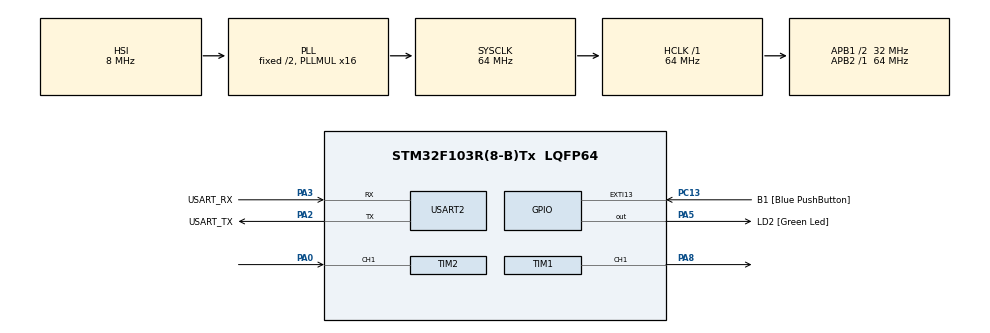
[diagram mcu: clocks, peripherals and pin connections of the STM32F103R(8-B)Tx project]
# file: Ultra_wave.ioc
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Mcu.Family=STM32F1
Mcu.Name=STM32F103R(8-B)Tx
Mcu.Package=LQFP64
NVIC.EXTI15_10_IRQn=true\:0\:0\:false\:false\:true\:true\:true\:true
NVIC.PriorityGroup=NVIC_PRIORITYGROUP_4
NVIC.TIM2_IRQn=true\:0\:0\:false\:false\:true\:true\:true\:true
PA0-WKUP.Signal=S_TIM2_CH1_ETR
PA13.GPIO_Label=TMS
PA13.Mode=Serial_Wire
PA13.Signal=SYS_JTMS-SWDIO
PA14.GPIO_Label=TCK
PA14.Mode=Serial_Wire
PA14.Signal=SYS_JTCK-SWCLK
PA2.GPIO_Label=USART_TX
PA2.GPIO_Mode=GPIO_MODE_AF_PP
PA2.GPIO_PuPd=GPIO_NOPULL
PA2.GPIO_Speed=GPIO_SPEED_FREQ_LOW
PA2.Mode=Asynchronous
PA2.Signal=USART2_TX
PA3.GPIO_Label=USART_RX
PA3.GPIO_Mode=GPIO_MODE_AF_PP
PA3.GPIO_PuPd=GPIO_NOPULL
PA3.GPIO_Speed=GPIO_SPEED_FREQ_LOW
PA3.Mode=Asynchronous
PA3.Signal=USART2_RX
PA5.GPIO_Label=LD2 [Green Led]
PA5.GPIO_ModeDefaultOutputPP=GPIO_MODE_OUTPUT_PP
PA5.GPIO_PuPd=GPIO_NOPULL
PA5.GPIO_Speed=GPIO_SPEED_FREQ_LOW
PA5.Signal=GPIO_Output
PA8.Signal=S_TIM1_CH1
PB3.GPIO_Label=SWO
PB3.Signal=SYS_JTDO-TRACESWO
PC13-TAMPER-RTC.GPIO_Label=B1 [Blue PushButton]
PC13-TAMPER-RTC.GPIO_PuPd=GPIO_NOPULL
PC13-TAMPER-RTC.Signal=GPXTI13
PC14-OSC32_IN.Mode=LSE-External-Oscillator
PC14-OSC32_IN.Signal=RCC_OSC32_IN
PC15-OSC32_OUT.Mode=LSE-External-Oscillator
PC15-OSC32_OUT.Signal=RCC_OSC32_OUT
PD0-OSC_IN.Mode=HSE-External-Clock-Source
PD0-OSC_IN.Signal=RCC_OSC_IN
PD1-OSC_OUT.Mode=HSE-External-Clock-Source
PD1-OSC_OUT.Signal=RCC_OSC_OUT
ProjectManager.HeapSize=0x200
ProjectManager.StackSize=0x400
ProjectManager.TargetToolchain=STM32CubeIDE
RCC.AHBFreq_Value=64000000
RCC.APB1CLKDivider=RCC_HCLK_DIV2
RCC.APB1Freq_Value=32000000
RCC.APB1TimFreq_Value=64000000
RCC.APB2Freq_Value=64000000
RCC.APB2TimFreq_Value=64000000
RCC.HCLKFreq_Value=64000000
RCC.PLLMUL=RCC_PLL_MUL16
RCC.RTCClockSelection=RCC_RTCCLKSOURCE_LSE
RCC.SYSCLKFreq_VALUE=64000000
RCC.SYSCLKSource=RCC_SYSCLKSOURCE_PLLCLK
RCC.USBFreq_Value=64000000
SH.S_TIM1_CH1.0=TIM1_CH1,PWM Generation1 CH1
SH.S_TIM2_CH1_ETR.0=TIM2_CH1,Input_Capture1_from_TI1
TIM1.Channel-PWM\ Generation1\ CH1=TIM_CHANNEL_1
TIM1.Period=1000-1
TIM1.Prescaler=64-1
TIM1.Pulse-PWM\ Generation1\ CH1=500-1
TIM2.Channel-Input_Capture1_from_TI1=TIM_CHANNEL_1
TIM2.Period=30000
TIM2.Prescaler=64-1
USART2.VirtualMode=VM_ASYNC
VP_TIM1_VS_ClockSourceINT.Mode=Internal
VP_TIM2_VS_ClockSourceINT.Mode=Internal
board=NUCLEO-F103RB

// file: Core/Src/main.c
/* USER CODE BEGIN Header */
/**
  ******************************************************************************
  * @file           : main.c
  * @brief          : Main program body
  ******************************************************************************
  * @attention
  *
  * Copyright (c) 2022 STMicroelectronics.
  * All rights reserved.
  *
  * This software is licensed under terms that can be found in the LICENSE file
  * in the root directory of this software component.
  * If no LICENSE file comes with this software, it is provided AS-IS.
  *
  ******************************************************************************
  */
/* USER CODE END Header */
#include "main.h"

/* USER CODE BEGIN Includes */
#include "stdio.h"

#define clk 64000000
#define psr 64
/* USER CODE END Includes */

 TIM_HandleTypeDef htim1;
TIM_HandleTypeDef htim2;

UART_HandleTypeDef huart2;

/* USER CODE BEGIN PV */
uint32_t IC1, IC2;
int Capureflag = 0;
int freq;
int time_us;

/* USER CODE END PV */

void SystemClock_Config(void);
static void MX_GPIO_Init(void);
static void MX_USART2_UART_Init(void);
static void MX_TIM1_Init(void);
static void MX_TIM2_Init(void);
/* USER CODE BEGIN PFP */
#ifdef __GNUC__
/* With GCC, small printf (option LD Linker->Libraries->Small printf
   set to 'Yes') calls __io_putchar() */
#define PUTCHAR_PROTOTYPE int __io_putchar(int ch)
#else
#define PUTCHAR_PROTOTYPE int fputc(int ch, FILE *f)
#endif /* __GNUC__ */

PUTCHAR_PROTOTYPE
{
  /* Place your implementation of fputc here */
  /* e.g. write a character to the USART1 and Loop until the end of transmission */
  HAL_UART_Transmit(&huart2, (uint8_t *)&ch, 1, 0xFFFF);

  return ch;
}
/* USER CODE END PFP */

/* USER CODE BEGIN 0 */
void HAL_TIM_IC_CaptureCallback(TIM_HandleTypeDef *htim) {
	if(htim->Channel == HAL_TIM_ACTIVE_CHANNEL_1) {
		if(Capureflag == 0) {
//			IC1 = HAL_TIM_ReadCapturedValue(&htim2, TIM_CHANNEL_1);
			IC1 = TIM2->CCR1;

			__HAL_TIM_SET_CAPTUREPOLARITY(&htim2, TIM_CHANNEL_1, TIM_INPUTCHANNELPOLARITY_FALLING);
//			TIM2->CCER |= 0x02;

			Capureflag = 1;
		}
		else if(Capureflag == 1) {
//			IC2 = HAL_TIM_ReadCapturedValue(&htim2, TIM_CHANNEL_1);
			IC2 = TIM2->CCR1;

			__HAL_TIM_SET_COUNTER(&htim2, 0);

			__HAL_TIM_SET_CAPTUREPOLARITY(&htim2, TIM_CHANNEL_1, TIM_INPUTCHANNELPOLARITY_RISING);
//			TIM2->CCER &= ~(1 << 1);

//			freq = 1 / ((IC2 - IC1) * (psr / clk));
			time_us = (IC2 - IC1);

			Capureflag = 0;
		}
	}
}
/* USER CODE END 0 */

int main(void)
{

  /* MCU Configuration--------------------------------------------------------*/

  /* Reset of all peripherals, Initializes the Flash interface and the Systick. */
  HAL_Init();

  /* Configure the system clock */
  SystemClock_Config();

  /* Initialize all configured peripherals */
  MX_GPIO_Init();
  MX_USART2_UART_Init();
  MX_TIM1_Init();
  MX_TIM2_Init();
  /* USER CODE BEGIN 2 */
  HAL_TIM_PWM_Start_IT(&htim1, TIM_CHANNEL_1);
  HAL_TIM_IC_Start_IT(&htim2, TIM_CHANNEL_1);
  /* USER CODE END 2 */

  /* Infinite loop */
  /* USER CODE BEGIN WHILE */
  while (1)
  {
	  printf("-----------------------\n\r");
	  printf("IC2 = %u, IC1 = %u\n\r", IC2, IC1);
//	  printf("freq = %u Hz\n\r", freq);
	  printf("time = %u us\n\r", time_us);
	  HAL_Delay(1000);
    /* USER CODE END WHILE */

  }
}

void SystemClock_Config(void)
{
  RCC_OscInitTypeDef RCC_OscInitStruct = {0};
  RCC_ClkInitTypeDef RCC_ClkInitStruct = {0};

  /** Initializes the RCC Oscillators according to the specified parameters
  * in the RCC_OscInitTypeDef structure.
  */
  RCC_OscInitStruct.OscillatorType = RCC_OSCILLATORTYPE_HSI;
  RCC_OscInitStruct.HSIState = RCC_HSI_ON;
  RCC_OscInitStruct.HSICalibrationValue = RCC_HSICALIBRATION_DEFAULT;
  RCC_OscInitStruct.PLL.PLLState = RCC_PLL_ON;
  RCC_OscInitStruct.PLL.PLLSource = RCC_PLLSOURCE_HSI_DIV2;
  RCC_OscInitStruct.PLL.PLLMUL = RCC_PLL_MUL16;
  if (HAL_RCC_OscConfig(&RCC_OscInitStruct) != HAL_OK)
  {
    Error_Handler();
  }

  /** Initializes the CPU, AHB and APB buses clocks
  */
  RCC_ClkInitStruct.ClockType = RCC_CLOCKTYPE_HCLK|RCC_CLOCKTYPE_SYSCLK
                              |RCC_CLOCKTYPE_PCLK1|RCC_CLOCKTYPE_PCLK2;
  RCC_ClkInitStruct.SYSCLKSource = RCC_SYSCLKSOURCE_PLLCLK;
  RCC_ClkInitStruct.AHBCLKDivider = RCC_SYSCLK_DIV1;
  RCC_ClkInitStruct.APB1CLKDivider = RCC_HCLK_DIV2;
  RCC_ClkInitStruct.APB2CLKDivider = RCC_HCLK_DIV1;

  if (HAL_RCC_ClockConfig(&RCC_ClkInitStruct, FLASH_LATENCY_2) != HAL_OK)
  {
    Error_Handler();
  }
}

static void MX_TIM1_Init(void)
{

  TIM_ClockConfigTypeDef sClockSourceConfig = {0};
  TIM_MasterConfigTypeDef sMasterConfig = {0};
  TIM_OC_InitTypeDef sConfigOC = {0};
  TIM_BreakDeadTimeConfigTypeDef sBreakDeadTimeConfig = {0};

  htim1.Instance = TIM1;
  htim1.Init.Prescaler = 64-1;
  htim1.Init.CounterMode = TIM_COUNTERMODE_UP;
  htim1.Init.Period = 1000-1;
  htim1.Init.ClockDivision = TIM_CLOCKDIVISION_DIV1;
  htim1.Init.RepetitionCounter = 0;
  htim1.Init.AutoReloadPreload = TIM_AUTORELOAD_PRELOAD_DISABLE;
  if (HAL_TIM_Base_Init(&htim1) != HAL_OK)
  {
    Error_Handler();
  }
  sClockSourceConfig.ClockSource = TIM_CLOCKSOURCE_INTERNAL;
  if (HAL_TIM_ConfigClockSource(&htim1, &sClockSourceConfig) != HAL_OK)
  {
    Error_Handler();
  }
  if (HAL_TIM_PWM_Init(&htim1) != HAL_OK)
  {
    Error_Handler();
  }
  sMasterConfig.MasterOutputTrigger = TIM_TRGO_RESET;
  sMasterConfig.MasterSlaveMode = TIM_MASTERSLAVEMODE_DISABLE;
  if (HAL_TIMEx_MasterConfigSynchronization(&htim1, &sMasterConfig) != HAL_OK)
  {
    Error_Handler();
  }
  sConfigOC.OCMode = TIM_OCMODE_PWM1;
  sConfigOC.Pulse = 500-1;
  sConfigOC.OCPolarity = TIM_OCPOLARITY_HIGH;
  sConfigOC.OCNPolarity = TIM_OCNPOLARITY_HIGH;
  sConfigOC.OCFastMode = TIM_OCFAST_DISABLE;
  sConfigOC.OCIdleState = TIM_OCIDLESTATE_RESET;
  sConfigOC.OCNIdleState = TIM_OCNIDLESTATE_RESET;
  if (HAL_TIM_PWM_ConfigChannel(&htim1, &sConfigOC, TIM_CHANNEL_1) != HAL_OK)
  {
    Error_Handler();
  }
  sBreakDeadTimeConfig.OffStateRunMode = TIM_OSSR_DISABLE;
  sBreakDeadTimeConfig.OffStateIDLEMode = TIM_OSSI_DISABLE;
  sBreakDeadTimeConfig.LockLevel = TIM_LOCKLEVEL_OFF;
  sBreakDeadTimeConfig.DeadTime = 0;
  sBreakDeadTimeConfig.BreakState = TIM_BREAK_DISABLE;
  sBreakDeadTimeConfig.BreakPolarity = TIM_BREAKPOLARITY_HIGH;
  sBreakDeadTimeConfig.AutomaticOutput = TIM_AUTOMATICOUTPUT_DISABLE;
  if (HAL_TIMEx_ConfigBreakDeadTime(&htim1, &sBreakDeadTimeConfig) != HAL_OK)
  {
    Error_Handler();
  }
  HAL_TIM_MspPostInit(&htim1);

}

static void MX_TIM2_Init(void)
{

  TIM_ClockConfigTypeDef sClockSourceConfig = {0};
  TIM_MasterConfigTypeDef sMasterConfig = {0};
  TIM_IC_InitTypeDef sConfigIC = {0};

  htim2.Instance = TIM2;
  htim2.Init.Prescaler = 64-1;
  htim2.Init.CounterMode = TIM_COUNTERMODE_UP;
  htim2.Init.Period = 30000;
  htim2.Init.ClockDivision = TIM_CLOCKDIVISION_DIV1;
  htim2.Init.AutoReloadPreload = TIM_AUTORELOAD_PRELOAD_DISABLE;
  if (HAL_TIM_Base_Init(&htim2) != HAL_OK)
  {
    Error_Handler();
  }
  sClockSourceConfig.ClockSource = TIM_CLOCKSOURCE_INTERNAL;
  if (HAL_TIM_ConfigClockSource(&htim2, &sClockSourceConfig) != HAL_OK)
  {
    Error_Handler();
  }
  if (HAL_TIM_IC_Init(&htim2) != HAL_OK)
  {
    Error_Handler();
  }
  sMasterConfig.MasterOutputTrigger = TIM_TRGO_RESET;
  sMasterConfig.MasterSlaveMode = TIM_MASTERSLAVEMODE_DISABLE;
  if (HAL_TIMEx_MasterConfigSynchronization(&htim2, &sMasterConfig) != HAL_OK)
  {
    Error_Handler();
  }
  sConfigIC.ICPolarity = TIM_INPUTCHANNELPOLARITY_RISING;
  sConfigIC.ICSelection = TIM_ICSELECTION_DIRECTTI;
  sConfigIC.ICPrescaler = TIM_ICPSC_DIV1;
  sConfigIC.ICFilter = 0;
  if (HAL_TIM_IC_ConfigChannel(&htim2, &sConfigIC, TIM_CHANNEL_1) != HAL_OK)
  {
    Error_Handler();
  }

}

static void MX_USART2_UART_Init(void)
{

  huart2.Instance = USART2;
  huart2.Init.BaudRate = 115200;
  huart2.Init.WordLength = UART_WORDLENGTH_8B;
  huart2.Init.StopBits = UART_STOPBITS_1;
  huart2.Init.Parity = UART_PARITY_NONE;
  huart2.Init.Mode = UART_MODE_TX_RX;
  huart2.Init.HwFlowCtl = UART_HWCONTROL_NONE;
  huart2.Init.OverSampling = UART_OVERSAMPLING_16;
  if (HAL_UART_Init(&huart2) != HAL_OK)
  {
    Error_Handler();
  }

}

static void MX_GPIO_Init(void)
{
  GPIO_InitTypeDef GPIO_InitStruct = {0};

  /* GPIO Ports Clock Enable */
  __HAL_RCC_GPIOC_CLK_ENABLE();
  __HAL_RCC_GPIOD_CLK_ENABLE();
  __HAL_RCC_GPIOA_CLK_ENABLE();
  __HAL_RCC_GPIOB_CLK_ENABLE();

  /*Configure GPIO pin Output Level */
  HAL_GPIO_WritePin(LD2_GPIO_Port, LD2_Pin, GPIO_PIN_RESET);

  /*Configure GPIO pin : B1_Pin */
  GPIO_InitStruct.Pin = B1_Pin;
  GPIO_InitStruct.Mode = GPIO_MODE_IT_RISING;
  GPIO_InitStruct.Pull = GPIO_NOPULL;
  HAL_GPIO_Init(B1_GPIO_Port, &GPIO_InitStruct);

  /*Configure GPIO pin : LD2_Pin */
  GPIO_InitStruct.Pin = LD2_Pin;
  GPIO_InitStruct.Mode = GPIO_MODE_OUTPUT_PP;
  GPIO_InitStruct.Pull = GPIO_NOPULL;
  GPIO_InitStruct.Speed = GPIO_SPEED_FREQ_LOW;
  HAL_GPIO_Init(LD2_GPIO_Port, &GPIO_InitStruct);

  /* EXTI interrupt init*/
  HAL_NVIC_SetPriority(EXTI15_10_IRQn, 0, 0);
  HAL_NVIC_EnableIRQ(EXTI15_10_IRQn);

}

void Error_Handler(void)
{
  __disable_irq();
  while (1)
  {
  }
}
